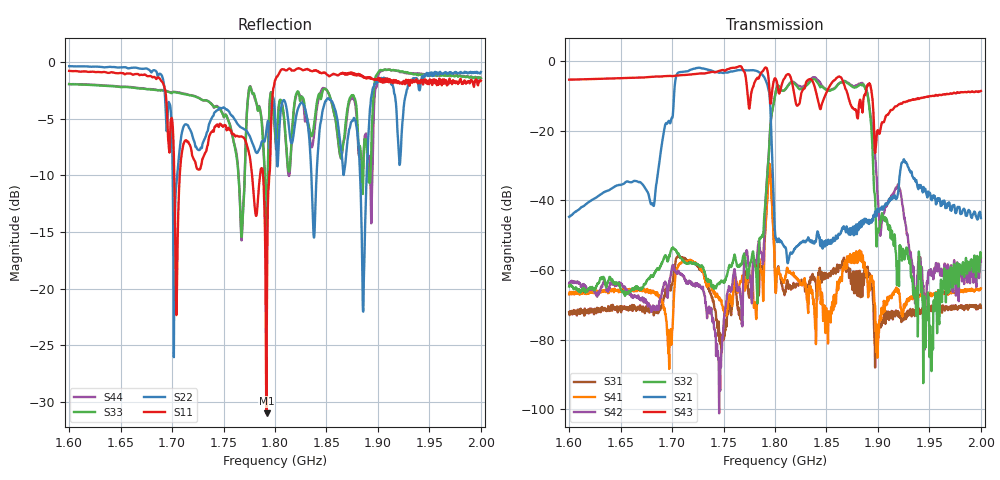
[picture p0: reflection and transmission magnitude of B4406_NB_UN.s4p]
! Matrix data file written by TouchstoneData, EPCOS AG
! FILENAME: "ptable_B4406_02_NB.s4p"
! COMMENT: "(B4406_02_NB.s4p) Epcos AG 1/21/2013 4:22:54"
! INFO: nport=4, nfreq=1601
! DATE: "Wed Feb 13 20:40:06 2013"
! USER: "Michael Schemies"
! port | pin | signal
!  1  |  3  |  Tx
!  2  |  6  |  Ant
!  3  |  8  |  Rx
!  4  |  1  |  Rx
# MHZ S RI R 50
! freq  reS11 imS11  reS12 imS12  reS13 imS13  reS14 imS14  ...
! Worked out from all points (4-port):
!   1601 points, 1.6 GHz to 2 GHz, reference 50 ohm
!   strongest paths, dB at 1.6 GHz, 1.7 GHz, 1.8 GHz, 1.9 GHz, 2 GHz:
!     S43: -5.3, -4.4, -4.9, -19.9, -8.6
!     S21: -44.8, -16.4, -49.2, -42.9, -45.1
!     S32: -64.8, -53.8, -9.9, -48.4, -56.4
!     S42: -63.9, -59.3, -9.8, -39.6, -57.5
!     S41: -67.0, -77.6, -60.7, -81.3, -65.3
!     S31: -72.2, -64.2, -62.5, -78.8, -70.8
!   lowest |S11| = -31.0 dB at 1.792 GHz (marker M1), VSWR 1.06, Z = 51.4 + j2.49 ohm
!   |S11| at or under -10 dB: 1.702169 GHz to 1.707475 GHz (5.305 MHz wide, 0.311 % of centre); 1.77777 GHz to 1.78548 GHz (7.71 MHz wide, 0.433 % of centre); 1.78842 GHz to 1.794466 GHz (6.046 MHz wide, 0.337 % of centre)
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1600  -0.7862 -0.4671  -0.00173 0.00556  -0.00024 -3.53e-05  -0.000461 0.000116
      -0.0017 0.00553  -0.5347 -0.7966  0.000278 0.000518  0.000632 0.000126
      -0.000232 -7.7e-05  0.000284 0.000503  0.2286 -0.7658  0.5117 0.1745
      -0.000433 0.000109  0.000626 0.000115  0.5132 0.1711  0.3046 -0.7402
1747.25  -0.5309 -0.0477  0.3594 -0.5827  3.26e-05 -9.06e-05  0.000177 0.000332
         0.3566 -0.5835  -0.3352 -0.53  -0.000249 0.000612  -4.4e-05 3.91e-06
         4.49e-05 -8.66e-05  -0.000252 0.000611  -0.0308 -0.6118  0.7328 -0.0198
         0.000184 0.000316  -4.93e-05 -2.09e-05  0.7331 -0.025  0.0289 -0.6135
1791.75  0.0144 0.0242  0.3516 -0.3485  0.00052 0.00695  0.00024 -0.00716
         0.3502 -0.3493  -0.1404 -0.4855  0.000754 0.0164  -0.000103 -0.0161
         0.000542 0.00698  0.000713 0.0164  0.0917 -0.1677  0.6295 -0.4866
         0.000229 -0.00716  -0.000106 -0.0162  0.6264 -0.4904  0.0881 -0.1443
1813  0.5804 -0.7304  -0.0014 -1.54e-05  0.000506 0.000181  -0.000813 -0.000463
      -0.00137 7.27e-07  -0.3461 -0.4193  -0.0674 0.4452  0.0864 -0.4443
      0.000504 0.000178  -0.0685 0.4451  0.1381 -0.3023  0.5552 -0.3378
      -0.000807 -0.000467  0.0852 -0.4449  0.5537 -0.3412  0.1534 -0.2811
1887.25  -0.3728 -0.7696  -5.35e-05 0.00512  -0.00034 -0.000724  -0.000541 0.000846
         -5.88e-05 0.00507  0.1213 -0.1153  -0.2588 -0.3262  0.2537 0.3508
         -0.00031 -0.000712  -0.2573 -0.3279  0.3221 -0.3252  0.2883 -0.163
         -0.000531 0.000863  0.2557 0.3494  0.2863 -0.1661  0.373 -0.2929
1951.75  -0.5272 -0.6451  0.0103 -0.00105  -0.000255 -4.21e-05  -0.000461 2.47e-05
         0.0103 -0.00108  0.025 -0.8896  3.03e-05 2.98e-05  0.000866 0.000122
         -0.000279 -4.85e-05  4.95e-05 8.93e-06  0.3993 -0.7776  0.2809 0.1378
         -0.000458 2.36e-05  0.000877 0.000119  0.283 0.1337  0.4975 -0.7216
2000  -0.6145 -0.5546  0.00559 6.28e-05  -0.000286 -3.31e-05  -0.000538 8.3e-05
      0.00556 5.91e-05  -0.2079 -0.8797  0.00125 0.00086  0.00123 0.000493
      -0.000286 -3.58e-05  0.00124 0.000868  0.3033 -0.7914  0.3504 0.1223
      -0.00054 5.91e-05  0.00124 0.000487  0.351 0.1227  0.4031 -0.7496
